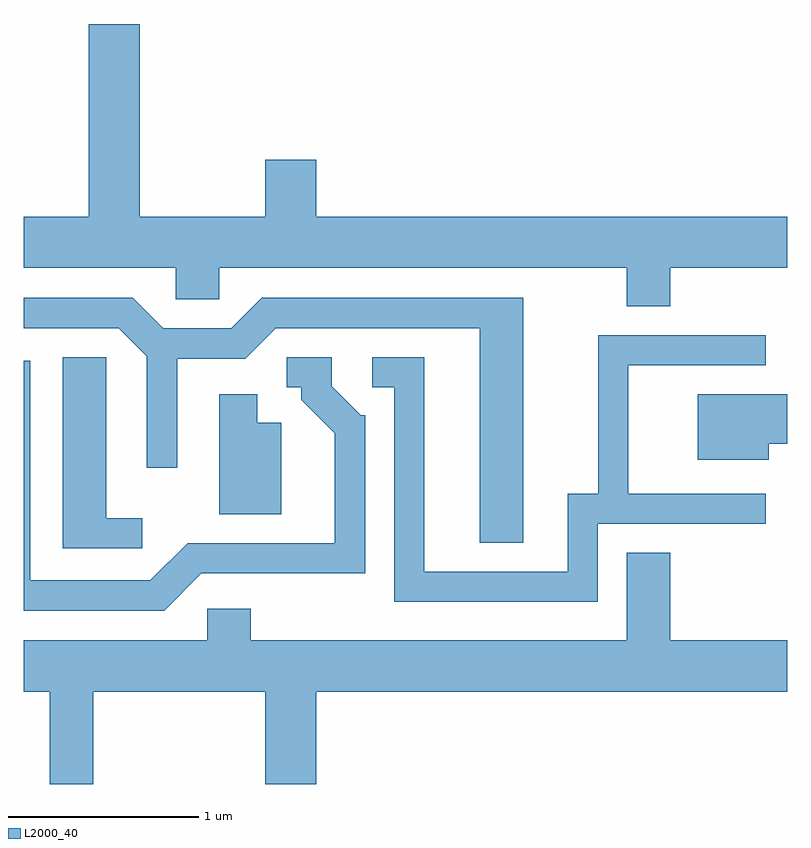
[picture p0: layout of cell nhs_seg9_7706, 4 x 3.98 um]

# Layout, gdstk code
import gdstk
lib = gdstk.Library(unit=1e-6, precision=1e-09)
def P(c, l, *ps):  # polygons
    for p in ps: c.add(gdstk.Polygon(p, *l))
L2000_40 = (2000, 40)

nhs_seg9_7706 = lib.new_cell('nhs_seg9_7706')
P(nhs_seg9_7706, L2000_40, [(416.999,2005.136),(417.611,2005.136),(417.611,2005.404),(415.144,2005.404),(415.144,2005.704),(414.876,2005.704),(414.876,2005.404),(414.219,2005.404),(414.219,2006.414),(413.951,2006.414),(413.951,2005.404),(413.611,2005.404),(413.611,2005.136),(414.406,2005.136),(414.406,2004.971),(414.634,2004.971),(414.634,2005.136),(416.771,2005.136),(416.771,2004.936),(416.999,2004.936)],
  [(416.229,2004.979),(414.859,2004.979),(414.699,2004.819),(414.342,2004.819),(414.182,2004.979),(413.611,2004.979),(413.611,2004.821),(414.109,2004.821),(414.256,2004.674),(414.256,2004.088),(414.414,2004.088),(414.414,2004.661),(414.772,2004.661),(414.932,2004.821),(416.001,2004.821),(416.001,2003.696),(416.229,2003.696)],
  [(416.619,2003.796),(417.498,2003.796),(417.498,2003.954),(416.779,2003.954),(416.779,2004.626),(417.498,2004.626),(417.498,2004.784),(416.621,2004.784),(416.621,2003.954),(416.461,2003.954),(416.461,2003.544),(415.709,2003.544),(415.709,2004.669),(415.438,2004.669),(415.438,2004.511),(415.551,2004.511),(415.551,2003.386),(416.619,2003.386)],
  [(414.233,2003.824),(414.044,2003.824),(414.044,2004.669),(413.816,2004.669),(413.816,2003.666),(414.233,2003.666)],
  [(414.542,2003.536),(415.399,2003.536),(415.399,2004.364),(415.377,2004.364),(415.224,2004.517),(415.224,2004.669),(414.988,2004.669),(414.988,2004.511),(415.066,2004.511),(415.066,2004.444),(415.241,2004.269),(415.241,2003.694),(414.469,2003.694),(414.274,2003.499),(413.644,2003.499),(413.644,2004.649),(413.611,2004.649),(413.611,2003.341),(414.347,2003.341)],
  [(414.959,2004.324),(414.834,2004.324),(414.834,2004.474),(414.636,2004.474),(414.636,2003.846),(414.959,2003.846)],
  [(417.514,2004.216),(417.611,2004.216),(417.611,2004.474),(417.141,2004.474),(417.141,2004.131),(417.514,2004.131)],
  [(413.974,2002.916),(414.876,2002.916),(414.876,2002.432),(415.144,2002.432),(415.144,2002.916),(417.611,2002.916),(417.611,2003.184),(416.999,2003.184),(416.999,2003.644),(416.771,2003.644),(416.771,2003.184),(414.799,2003.184),(414.799,2003.349),(414.571,2003.349),(414.571,2003.184),(413.611,2003.184),(413.611,2002.916),(413.746,2002.916),(413.746,2002.432),(413.974,2002.432)])

lib.write_gds('nhs_seg9_7706.gds')
